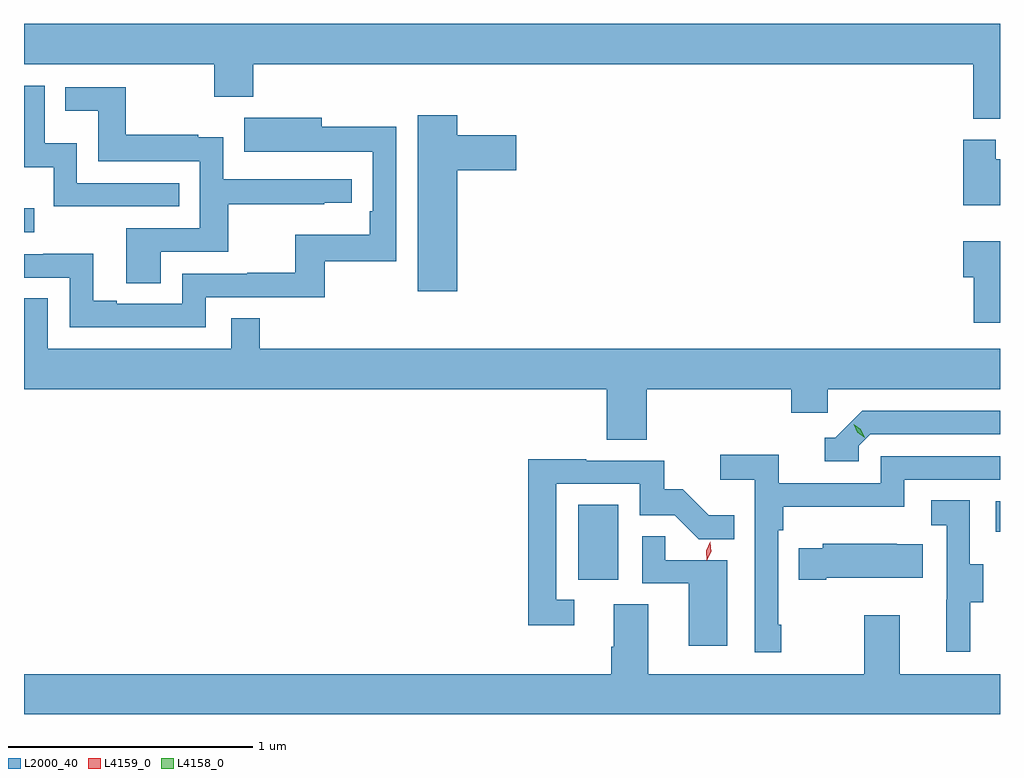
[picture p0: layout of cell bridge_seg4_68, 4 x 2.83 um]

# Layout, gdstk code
import gdstk
lib = gdstk.Library(unit=1e-6, precision=1e-09)
def R(c, l, rs):  # rectangles x0, y0, x1, y1
    for r in rs: c.add(gdstk.rectangle(r[:2], r[2:], *l))
def P(c, l, *ps):  # polygons
    for p in ps: c.add(gdstk.Polygon(p, *l))
L2000_40 = (2000, 40)
L4158_0 = (4158, 0)
L4159_0 = (4159, 0)

bridge_seg4_68 = lib.new_cell('bridge_seg4_68')
R(bridge_seg4_68, L2000_40, [(830.21,782.718,830.374,783.025), (831.921,782.915,831.939,783.039), (827.939,784.143,827.98,784.24)])
P(bridge_seg4_68, L2000_40, [(831.939,784.996),(827.939,784.996),(827.939,784.832),(828.718,784.832),(828.718,784.697),(828.878,784.697),(828.878,784.832),(831.829,784.832),(831.829,784.607),(831.939,784.607)],
  [(828.575,784.344),(828.156,784.344),(828.156,784.507),(828.024,784.507),(828.024,784.743),(827.939,784.743),(827.939,784.409),(828.06,784.409),(828.06,784.248),(828.575,784.248)],
  [(828.499,784.062),(828.776,784.062),(828.776,784.258),(829.169,784.258),(829.169,784.263),(829.282,784.263),(829.282,784.359),(828.756,784.359),(828.756,784.531),(828.653,784.531),(828.653,784.543),(828.355,784.543),(828.355,784.737),(828.109,784.737),(828.109,784.64),(828.244,784.64),(828.244,784.434),(828.66,784.434),(828.66,784.158),(828.359,784.158),(828.359,783.934),(828.499,783.934)],
  [(829.714,784.397),(829.957,784.397),(829.957,784.539),(829.714,784.539),(829.714,784.621),(829.553,784.621),(829.553,783.9),(829.714,783.9)],
  [(828.684,783.876),(829.171,783.876),(829.171,784.023),(829.464,784.023),(829.464,784.574),(829.159,784.574),(829.159,784.612),(828.841,784.612),(828.841,784.472),(829.055,784.472),(829.055,784.473),(829.368,784.473),(829.368,784.228),(829.355,784.228),(829.355,784.132),(829.05,784.132),(829.05,783.977),(828.853,783.977),(828.853,783.972),(828.588,783.972),(828.588,783.849),(828.319,783.849),(828.319,783.862),(828.223,783.862),(828.223,784.055),(828.018,784.055),(828.018,784.053),(827.939,784.053),(827.939,783.957),(828.126,783.957),(828.126,783.753),(828.684,783.753)],
  [(831.939,784.441),(831.922,784.441),(831.922,784.522),(831.788,784.522),(831.788,784.253),(831.939,784.253)],
  [(831.939,784.105),(831.788,784.105),(831.788,783.958),(831.832,783.958),(831.832,783.771),(831.939,783.771)],
  [(830.492,783.5),(831.083,783.5),(831.083,783.402),(831.234,783.402),(831.234,783.5),(831.939,783.5),(831.939,783.664),(828.905,783.664),(828.905,783.791),(828.789,783.791),(828.789,783.664),(828.037,783.664),(828.037,783.872),(827.939,783.872),(827.939,783.5),(830.327,783.5),(830.327,783.292),(830.492,783.292)],
  [(831.36,783.267),(831.408,783.315),(831.939,783.315),(831.939,783.411),(831.375,783.411),(831.264,783.3),(831.221,783.3),(831.221,783.204),(831.36,783.204)],
  [(831.043,782.533),(831.03,782.533),(831.03,782.921),(831.05,782.921),(831.05,783.017),(831.546,783.017),(831.546,783.129),(831.939,783.129),(831.939,783.225),(831.45,783.225),(831.45,783.114),(831.032,783.114),(831.032,783.23),(830.793,783.23),(830.793,783.128),(830.934,783.128),(830.934,782.421),(831.043,782.421)],
  [(830.194,782.637),(830.121,782.637),(830.121,783.111),(830.463,783.111),(830.463,782.982),(830.607,782.982),(830.705,782.884),(830.849,782.884),(830.849,782.983),(830.745,782.983),(830.638,783.09),(830.562,783.09),(830.562,783.207),(830.243,783.207),(830.243,783.212),(830.005,783.212),(830.005,782.532),(830.194,782.532)],
  [(831.817,782.626),(831.871,782.626),(831.871,782.781),(831.816,782.781),(831.816,783.044),(831.657,783.044),(831.657,782.941),(831.72,782.941),(831.72,782.637),(831.719,782.637),(831.719,782.424),(831.817,782.424)],
  [(830.821,782.799),(830.567,782.799),(830.567,782.897),(830.472,782.897),(830.472,782.703),(830.663,782.703),(830.663,782.448),(830.821,782.448)],
  [(831.226,782.726),(831.623,782.726),(831.623,782.863),(831.515,782.863),(831.515,782.866),(831.213,782.866),(831.213,782.848),(831.115,782.848),(831.115,782.719),(831.226,782.719)],
  [(831.939,782.332),(831.529,782.332),(831.529,782.572),(831.382,782.572),(831.382,782.332),(830.497,782.332),(830.497,782.618),(830.357,782.618),(830.357,782.444),(830.345,782.444),(830.345,782.332),(827.939,782.332),(827.939,782.168),(831.939,782.168)])
P(bridge_seg4_68, L4158_0, [(831.384,783.301),(831.354,783.322),(831.339,783.355),(831.339,783.355),(831.339,783.355),(831.369,783.335),(831.384,783.302),(831.384,783.301)])
P(bridge_seg4_68, L4159_0, [(830.738,782.796),(830.738,782.797),(830.735,782.837),(830.751,782.874),(830.751,782.875),(830.751,782.874),(830.755,782.834),(830.738,782.797)])

lib.write_gds('bridge_seg4_68.gds')
